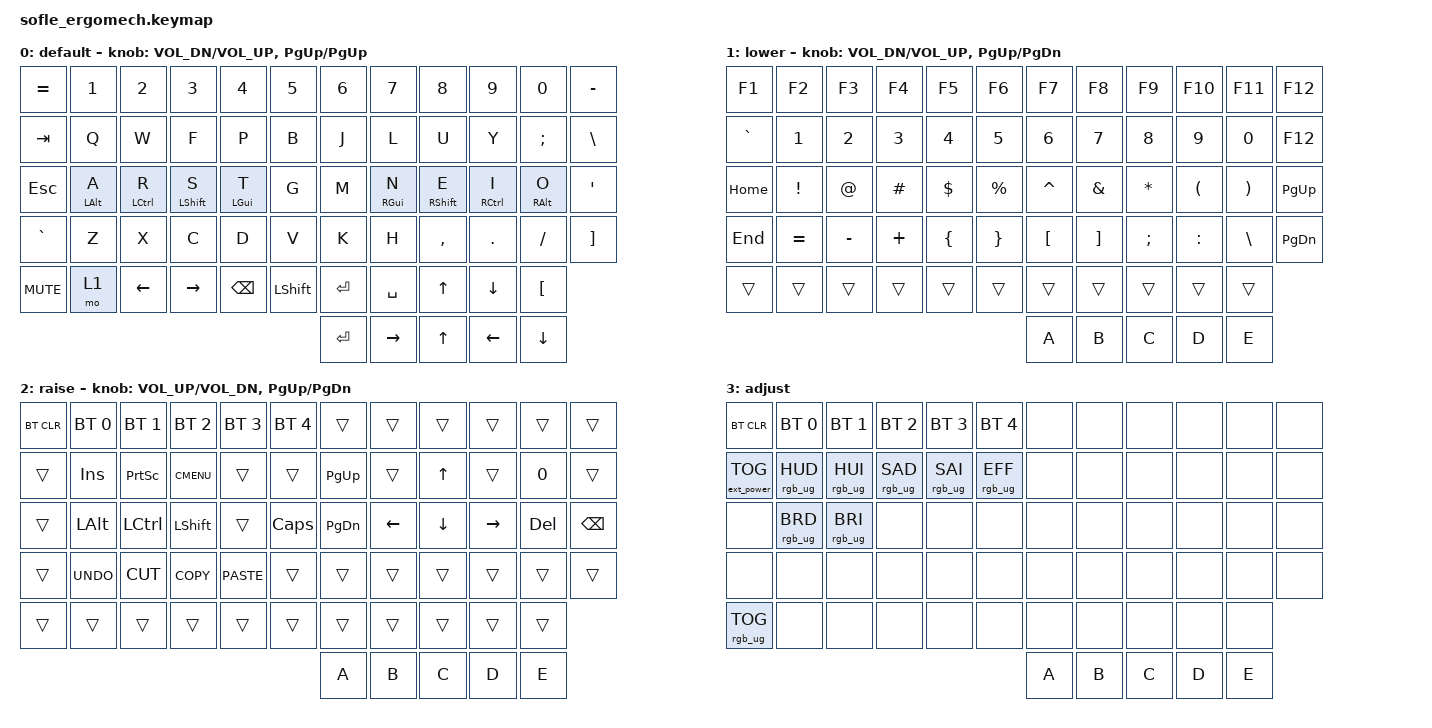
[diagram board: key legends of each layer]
/*
 * Copyright (c) 2020 The ZMK Contributors
 *
 * SPDX-License-Identifier: MIT
 */

#include <behaviors.dtsi>
#include <dt-bindings/zmk/bt.h>
#include <dt-bindings/zmk/ext_power.h>
#include <dt-bindings/zmk/keys.h>
#include <dt-bindings/zmk/rgb.h>

#define BASE 0
#define LOWER 1
#define RAISE 2
#define ADJUST 3

/ {
    // Activate ADJUST layer by pressing raise and lower

    conditional_layers {
        compatible = "zmk,conditional-layers";

        adjust_layer {
            if-layers = <LOWER RAISE>;
            then-layer = <ADJUST>;
        };
    };

    behaviors {
        homey_left: homey_left {
            compatible = "zmk,behavior-hold-tap";
            label = "HOMEY_LEFT";
            bindings = <&kp>, <&kp>;

            #binding-cells = <2>;
            flavor = "tap-preferred";
            hold-trigger-key-positions = <28 27 26 25 0 1 2 3 4 5 12 13 14 15 16 17 24 25 26 27 28 29 36 37 38 39 40 41 50 51 52 53 54 55 57 56>;
            hold-trigger-on-release;
            tapping-term-ms = <230>;
            quick-tap-ms = <300>;
            require-prior-idle-ms = <230>;
        };

        homey_right: homey_right {
            compatible = "zmk,behavior-hold-tap";
            label = "HOMEY_RIGHT";
            bindings = <&kp>, <&kp>;

            #binding-cells = <2>;
            tapping-term-ms = <230>;
            quick-tap-ms = <300>;
            require-prior-idle-ms = <230>;
            flavor = "tap-preferred";
            hold-trigger-key-positions = <6 7 8 9 10 11 18 19 20 21 22 23 30 31 32 33 34 35 42 43 44 45 46 47 54 55 56 57 51 52 53 50>;
            hold-trigger-on-release;
        };
    };

    combos {
        compatible = "zmk,combos";

        to-lower {
            bindings = <&to 1>;
            key-positions = <16 13>;
        };

        to-default {
            bindings = <&to 0>;
            key-positions = <40 37>;
        };
    };

    keymap {
        compatible = "zmk,keymap";

        default_layer {
            label = "default";

            // ------------------------------------------------------------------------------------------------------------
            // |   `   |  1  |  2  |  3   |  4   |  5   |                   |  6   |  7    |  8    |  9   |   0   |       |
            // |  ESC  |  Q  |  W  |  E   |  R   |  T   |                   |  Y   |  U    |  I    |  O   |   P   | BKSPC |
            // |  TAB  |  A  |  S  |  D   |  F   |  G   |                   |  H   |  J    |  K    |  L   |   ;   |   '   |
            // | SHIFT |  Z  |  X  |  C   |  V   |  B   |  MUTE  |  |       |  N   |  M    |  ,    |  .   |   /   | SHIFT |
            //               | GUI | ALT  | CTRL | LOWER|  ENTER |  | SPACE | RAISE| CTRL  | ALT   | GUI  |

            bindings = <
&kp EQUAL   &kp N1                  &kp N2                      &kp N3                    &kp N4                  &kp N5      &kp N6     &kp N7                    &kp N8                      &kp N9                        &kp N0                    &kp MINUS
&kp TAB     &kp Q                   &kp W                       &kp F                     &kp P                   &kp B       &kp J      &kp L                     &kp U                       &kp Y                         &kp SEMICOLON             &kp BACKSLASH
&kp ESCAPE  &homey_left LEFT_ALT A  &homey_left LEFT_CONTROL R  &homey_left LEFT_SHIFT S  &homey_left LEFT_GUI T  &kp G       &kp M      &homey_right RIGHT_GUI N  &homey_right RIGHT_SHIFT E  &homey_right RIGHT_CONTROL I  &homey_right RIGHT_ALT O  &kp SQT
&kp GRAVE   &kp Z                   &kp X                       &kp C                     &kp D                   &kp V       &kp K      &kp H                     &kp COMMA                   &kp DOT                       &kp FSLH                  &kp RIGHT_BRACKET
&kp C_MUTE  &mo 1                   &kp LEFT_ARROW              &kp RIGHT_ARROW           &kp BACKSPACE           &kp LSHIFT  &kp ENTER  &kp SPACE                 &kp UP_ARROW                &kp DOWN_ARROW                &kp LEFT_BRACKET
                                                                                                                              &kp ENTER  &kp RIGHT                 &kp UP_ARROW                &kp LEFT                      &kp DOWN
            >;

            sensor-bindings =
                <&inc_dec_kp C_VOL_DN C_VOL_UP>,
                <&inc_dec_kp PG_UP PG_UP>;
        };

        lower_layer {
            label = "lower";

            // TODO: Some binds are waiting for shifted keycode support.
            // ------------------------------------------------------------------------------------------------------------
            // |       |  F1 |  F2 |  F3  |  F4  |  F5  |                   |  F6  |  F7   |  F8   |  F9  |  F10  |  F11  |
            // |   `   |  1  |  2  |  3   |  4   |  5   |                   |  6   |  7    |  8    |  9   |   0   |  F12  |
            // |       |  !  |  @  |  #   |  $   |  %   |                   |  ^   |  &    |  *    |  (   |   )   |   |   |
            // |       |  =  |  -  |  +   |  {   |  }   |        |  |       |  [   |  ]    |  ;    |  :   |   \   |       |
            //               |     |      |      |      |        |  |       |      |       |       |      |

            bindings = <
&kp F1     &kp F2     &kp F3     &kp F4    &kp F5    &kp F6     &kp F7     &kp F8    &kp F9     &kp F10    &kp F11   &kp F12
&kp GRAVE  &kp N1     &kp N2     &kp N3    &kp N4    &kp N5     &kp N6     &kp N7    &kp N8     &kp N9     &kp N0    &kp F12
&kp HOME   &kp EXCL   &kp AT     &kp HASH  &kp DLLR  &kp PRCNT  &kp CARET  &kp AMPS  &kp ASTRK  &kp LPAR   &kp RPAR  &kp PAGE_UP
&kp END    &kp EQUAL  &kp MINUS  &kp PLUS  &kp LBRC  &kp RBRC   &kp LBKT   &kp RBKT  &kp SEMI   &kp COLON  &kp BSLH  &kp PAGE_DOWN
&trans     &trans     &trans     &trans    &trans    &trans     &trans     &trans    &trans     &trans     &trans
                                                                &kp A      &kp B     &kp C      &kp D      &kp E
            >;

            sensor-bindings =
                <&inc_dec_kp C_VOL_DN C_VOL_UP>,
                <&inc_dec_kp PG_UP PG_DN>;
        };

        raise_layer {
            label = "raise";

            // ------------------------------------------------------------------------------------------------------------
            // | BTCLR | BT1  | BT2  |  BT3  |  BT4  |  BT5 |                |      |      |       |      |       |       |
            // |       | INS  | PSCR | GUI   |       |      |                | PGUP |      |   ^   |      |       |       |
            // |       | ALT  | CTRL | SHIFT |       | CAPS |                | PGDN |   <- |   v   |  ->  |  DEL  | BKSPC |
            // |       | UNDO | CUT  | COPY  | PASTE |      |      |  |      |      |      |       |      |       |       |
            //                |      |       |       |      |      |  |      |      |      |       |      |

            bindings = <
&bt BT_CLR  &bt BT_SEL 0  &bt BT_SEL 1  &bt BT_SEL 2  &bt BT_SEL 3  &bt BT_SEL 4  &trans     &trans    &trans    &trans     &trans   &trans
&trans      &kp INS       &kp PSCRN     &kp K_CMENU   &trans        &trans        &kp PG_UP  &trans    &kp UP    &trans     &kp N0   &trans
&trans      &kp LALT      &kp LCTRL     &kp LSHFT     &trans        &kp CLCK      &kp PG_DN  &kp LEFT  &kp DOWN  &kp RIGHT  &kp DEL  &kp BSPC
&trans      &kp K_UNDO    &kp K_CUT     &kp K_COPY    &kp K_PASTE   &trans        &trans     &trans    &trans    &trans     &trans   &trans
&trans      &trans        &trans        &trans        &trans        &trans        &trans     &trans    &trans    &trans     &trans
                                                                                  &kp A      &kp B     &kp C     &kp D      &kp E
            >;

            sensor-bindings = <&inc_dec_kp C_VOL_UP C_VOL_DN &inc_dec_kp PG_UP PG_DN>;
        };

        adjust_layer {
            // ----------------------------------------------------------------------------------------------------------------------------
            // | BTCLR  |  BT1    |  BT2    |   BT3   |   BT4   |   BT5   |                  |      |      |       |      |       |       |
            // | EXTPWR | RGB_HUD | RGB_HUI | RGB_SAD | RGB_SAI | RGB_EFF |                  |      |      |       |      |       |       |
            // |        | RGB_BRD | RGB_BRI |         |         |         |                  |      |      |       |      |       |       |
            // |        |         |         |         |         |         | RGB_TOG | |      |      |      |       |      |       |       |
            //                    |         |         |         |         |         | |      |      |      |       |      |

            label = "adjust";
            bindings = <
&bt BT_CLR         &bt BT_SEL 0     &bt BT_SEL 1     &bt BT_SEL 2     &bt BT_SEL 3     &bt BT_SEL 4     &none  &none  &none  &none  &none  &none
&ext_power EP_TOG  &rgb_ug RGB_HUD  &rgb_ug RGB_HUI  &rgb_ug RGB_SAD  &rgb_ug RGB_SAI  &rgb_ug RGB_EFF  &none  &none  &none  &none  &none  &none
&none              &rgb_ug RGB_BRD  &rgb_ug RGB_BRI  &none            &none            &none            &none  &none  &none  &none  &none  &none
&none              &none            &none            &none            &none            &none            &none  &none  &none  &none  &none  &none
&rgb_ug RGB_TOG    &none            &none            &none            &none            &none            &none  &none  &none  &none  &none
                                                                                                        &kp A  &kp B  &kp C  &kp D  &kp E
            >;
        };
    };
};
